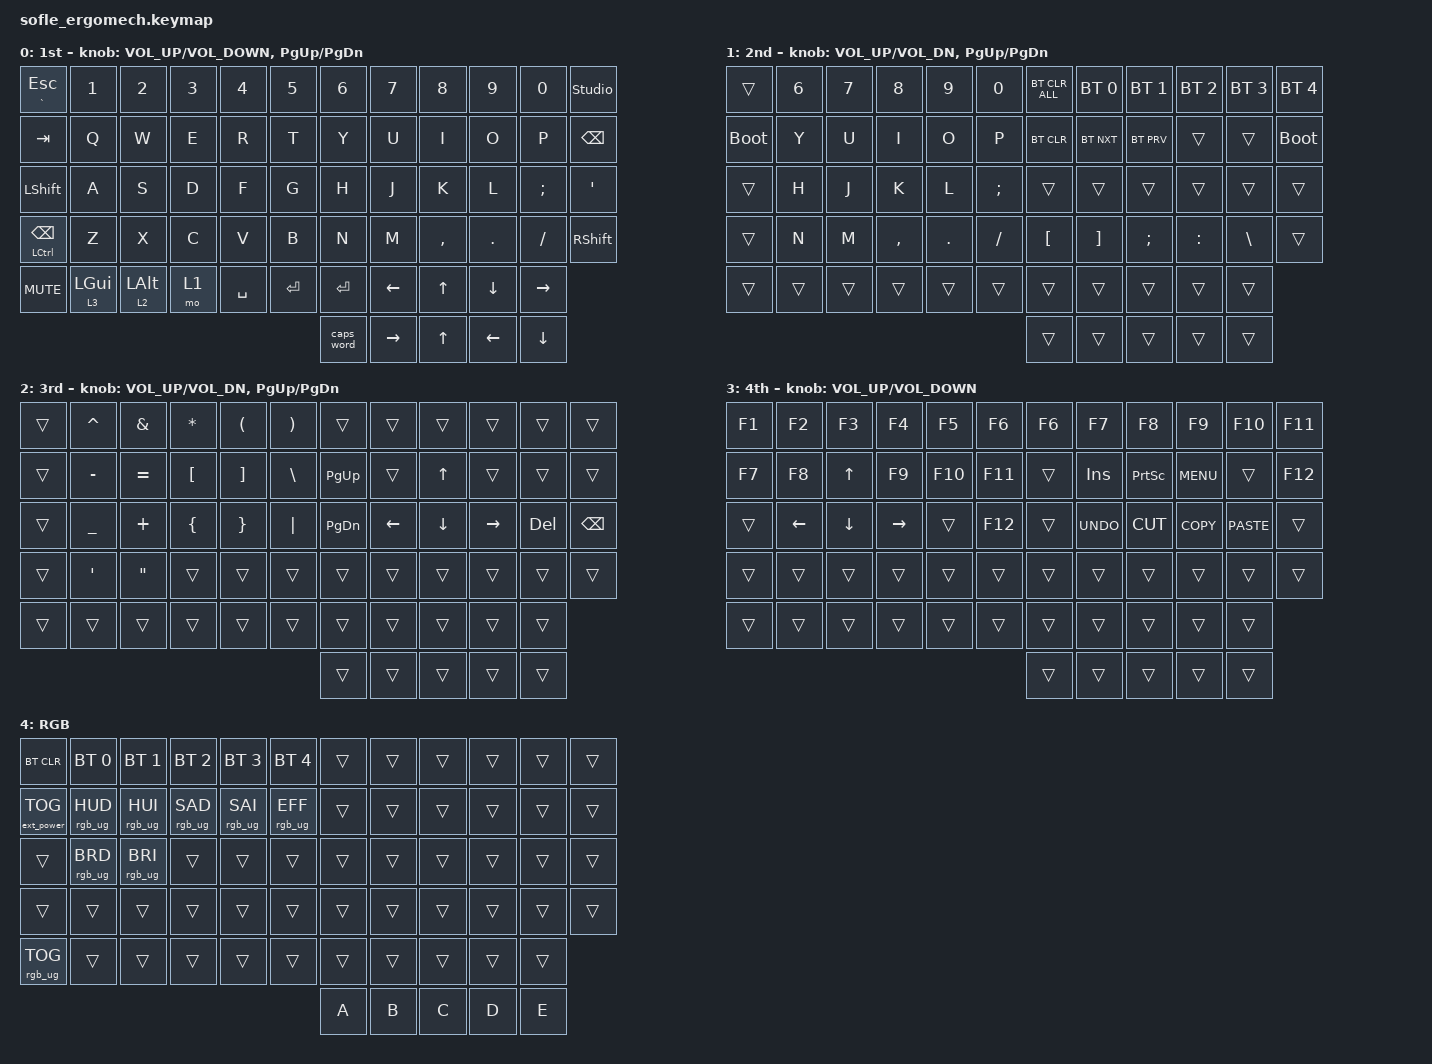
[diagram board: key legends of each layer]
/*
 * Copyright (c) 2020 The ZMK Contributors
 *
 * SPDX-License-Identifier: MIT
 */

#define ZMK_POINTING_DEFAULT_SCRL_VAL 300

#include <behaviors.dtsi>
#include <dt-bindings/zmk/bt.h>
#include <dt-bindings/zmk/ext_power.h>
#include <dt-bindings/zmk/keys.h>
#include <dt-bindings/zmk/pointing.h>
#include <dt-bindings/zmk/rgb.h>

#define BASE 0
#define LOWER 1
#define RAISE 2
#define ADJUST 3

/ {
    // Activate ADJUST layer by pressing raise and lower

    conditional_layers {
        compatible = "zmk,conditional-layers";

        adjust_layer {
            if-layers = <1 2>;
            then-layer = <4>;
        };
    };

    behaviors {
        mousescroll: mousescroll {
            compatible = "zmk,behavior-sensor-rotate";
            #sensor-binding-cells = <0>;
            bindings = <&msc SCRL_UP>, <&msc SCRL_DOWN>;

            tap-ms = <20>;
        };
    };

    keymap {
        compatible = "zmk,keymap";

        Base_layer {
            label = "1st";

            // ------------------------------------------------------------------------------------------------------------
            // |   `   |  1  |  2  |  3   |  4   |  5   |                   |  6   |  7    |  8    |  9   |   0   |       |
            // |  ESC  |  Q  |  W  |  E   |  R   |  T   |                   |  Y   |  U    |  I    |  O   |   P   | BKSPC |
            // |  TAB  |  A  |  S  |  D   |  F   |  G   |                   |  H   |  J    |  K    |  L   |   ;   |   '   |
            // | SHIFT |  Z  |  X  |  C   |  V   |  B   |  MUTE  |  |       |  N   |  M    |  ,    |  .   |   /   | SHIFT |
            //               | GUI | ALT  | CTRL | LOWER|  ENTER |  | SPACE | RAISE| CTRL  | ALT   | GUI  |

            bindings = <
&mt GRAVE ESCAPE            &kp N1          &kp N2          &kp N3  &kp N4     &kp N5     &kp N6      &kp N7     &kp N8        &kp N9    &kp N0     &studio_unlock
&kp TAB                     &kp Q           &kp W           &kp E   &kp R      &kp T      &kp Y       &kp U      &kp I         &kp O     &kp P      &kp BSPC
&kp LEFT_SHIFT              &kp A           &kp S           &kp D   &kp F      &kp G      &kp H       &kp J      &kp K         &kp L     &kp SEMI   &kp SQT
&mt LEFT_CONTROL BACKSPACE  &kp Z           &kp X           &kp C   &kp V      &kp B      &kp N       &kp M      &kp COMMA     &kp DOT   &kp FSLH   &kp RSHFT
&kp K_MUTE                  &lt 3 LEFT_GUI  &lt 2 LEFT_ALT  &mo 1   &kp SPACE  &kp ENTER  &kp ENTER   &kp LEFT   &kp UP_ARROW  &kp DOWN  &kp RIGHT
                                                                                          &caps_word  &kp RIGHT  &kp UP        &kp LEFT  &kp DOWN
            >;

            sensor-bindings =
                <&inc_dec_kp C_VOLUME_UP C_VOLUME_DOWN>,
                <&inc_dec_kp PG_UP PG_DN>;
        };

        second_layer {
            label = "2nd ";

            // TODO: Some binds are waiting for shifted keycode support.
            // ------------------------------------------------------------------------------------------------------------
            // |       |  F1 |  F2 |  F3  |  F4  |  F5  |                   |  F6  |  F7   |  F8   |  F9  |  F10  |  F11  |
            // |   `   |  1  |  2  |  3   |  4   |  5   |                   |  6   |  7    |  8    |  9   |   0   |  F12  |
            // |       |  !  |  @  |  #   |  $   |  %   |                   |  ^   |  &    |  *    |  (   |   )   |   |   |
            // |       |  =  |  -  |  +   |  {   |  }   |        |  |       |  [   |  ]    |  ;    |  :   |   \   |       |
            //               |     |      |      |      |        |  |       |      |       |       |      |

            bindings = <
&trans       &kp NUMBER_6  &kp N7  &kp N8     &kp N9      &kp N0         &bt BT_CLR_ALL  &bt BT_SEL 0  &bt BT_SEL 1  &bt BT_SEL 2  &bt BT_SEL 3  &bt BT_SEL 4
&bootloader  &kp Y         &kp U   &kp I      &kp O       &kp P          &bt BT_CLR      &bt BT_NXT    &bt BT_PRV    &trans        &trans        &bootloader
&trans       &kp H         &kp J   &kp K      &kp L       &kp SEMICOLON  &trans          &trans        &trans        &trans        &trans        &trans
&trans       &kp N         &kp M   &kp COMMA  &kp PERIOD  &kp SLASH      &kp LBKT        &kp RBKT      &kp SEMI      &kp COLON     &kp BSLH      &trans
&trans       &trans        &trans  &trans     &trans      &trans         &trans          &trans        &trans        &trans        &trans
                                                                         &trans          &trans        &trans        &trans        &trans
            >;

            sensor-bindings = <&inc_dec_kp C_VOL_UP C_VOL_DN &inc_dec_kp PG_UP PG_DN>;
        };

        third_layer {
            label = "3rd";

            // ------------------------------------------------------------------------------------------------------------
            // | BTCLR | BT1  | BT2  |  BT3  |  BT4  |  BT5 |                |      |      |       |      |       |       |
            // |       | INS  | PSCR | GUI   |       |      |                | PGUP |      |   ^   |      |       |       |
            // |       | ALT  | CTRL | SHIFT |       | CAPS |                | PGDN |   <- |   v   |  ->  |  DEL  | BKSPC |
            // |       | UNDO | CUT  | COPY  | PASTE |      |      |  |      |      |      |       |      |       |       |
            //                |      |       |       |      |      |  |      |      |      |       |      |

            bindings = <
&trans  &kp CARET         &kp AMPERSAND  &kp ASTERISK      &kp LEFT_PARENTHESIS  &kp RIGHT_PARENTHESIS  &trans     &trans    &trans    &trans     &trans   &trans
&trans  &kp MINUS         &kp EQUAL      &kp LEFT_BRACKET  &kp RIGHT_BRACKET     &kp BACKSLASH          &kp PG_UP  &trans    &kp UP    &trans     &trans   &trans
&trans  &kp UNDERSCORE    &kp PLUS       &kp LEFT_BRACE    &kp RBRC              &kp PIPE               &kp PG_DN  &kp LEFT  &kp DOWN  &kp RIGHT  &kp DEL  &kp BSPC
&trans  &kp SINGLE_QUOTE  &kp DQT        &trans            &trans                &trans                 &trans     &trans    &trans    &trans     &trans   &trans
&trans  &trans            &trans         &trans            &trans                &trans                 &trans     &trans    &trans    &trans     &trans
                                                                                                        &trans     &trans    &trans    &trans     &trans
            >;

            sensor-bindings = <&inc_dec_kp C_VOL_UP C_VOL_DN &inc_dec_kp PG_UP PG_DN>;
        };

        fourth_layer {
            bindings = <
&kp F1  &kp F2    &kp F3    &kp F4     &kp F5   &kp F6   &kp F6  &kp F7      &kp F8           &kp F9      &kp F10      &kp F11
&kp F7  &kp F8    &kp UP    &kp F9     &kp F10  &kp F11  &trans  &kp INS     &kp PRINTSCREEN  &kp C_MENU  &trans       &kp F12
&trans  &kp LEFT  &kp DOWN  &kp RIGHT  &trans   &kp F12  &trans  &kp K_UNDO  &kp K_CUT        &kp K_COPY  &kp K_PASTE  &trans
&trans  &trans    &trans    &trans     &trans   &trans   &trans  &trans      &trans           &trans      &trans       &trans
&trans  &trans    &trans    &trans     &trans   &trans   &trans  &trans      &trans           &trans      &trans
                                                         &trans  &trans      &trans           &trans      &trans
            >;

            label = "4th";
            sensor-bindings = <&inc_dec_kp C_VOLUME_UP C_VOLUME_DOWN>;
        };

        adjust_layer {
            // ----------------------------------------------------------------------------------------------------------------------------
            // | BTCLR  |  BT1    |  BT2    |   BT3   |   BT4   |   BT5   |                  |      |      |       |      |       |       |
            // | EXTPWR | RGB_HUD | RGB_HUI | RGB_SAD | RGB_SAI | RGB_EFF |                  |      |      |       |      |       |       |
            // |        | RGB_BRD | RGB_BRI |         |         |         |                  |      |      |       |      |       |       |
            // |        |         |         |         |         |         | RGB_TOG | |      |      |      |       |      |       |       |
            //                    |         |         |         |         |         | |      |      |      |       |      |

            label = "RGB";
            bindings = <
&bt BT_CLR         &bt BT_SEL 0     &bt BT_SEL 1     &bt BT_SEL 2     &bt BT_SEL 3     &bt BT_SEL 4     &trans  &trans  &trans  &trans  &trans  &trans
&ext_power EP_TOG  &rgb_ug RGB_HUD  &rgb_ug RGB_HUI  &rgb_ug RGB_SAD  &rgb_ug RGB_SAI  &rgb_ug RGB_EFF  &trans  &trans  &trans  &trans  &trans  &trans
&trans             &rgb_ug RGB_BRD  &rgb_ug RGB_BRI  &trans           &trans           &trans           &trans  &trans  &trans  &trans  &trans  &trans
&trans             &trans           &trans           &trans           &trans           &trans           &trans  &trans  &trans  &trans  &trans  &trans
&rgb_ug RGB_TOG    &trans           &trans           &trans           &trans           &trans           &trans  &trans  &trans  &trans  &trans
                                                                                                        &kp A   &kp B   &kp C   &kp D   &kp E
            >;
        };
    };
};
